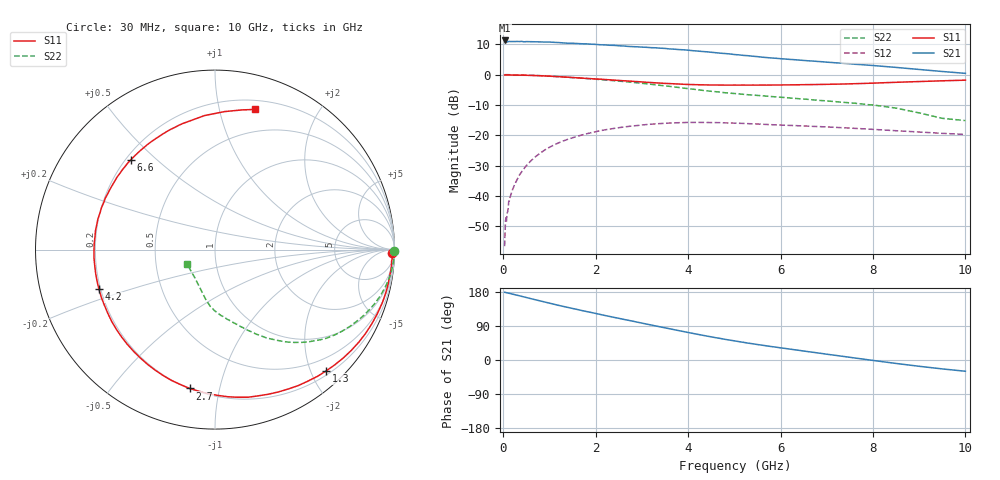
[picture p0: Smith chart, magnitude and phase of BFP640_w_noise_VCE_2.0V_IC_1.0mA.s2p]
! Infineon Technologies  Discrete & RF Semiconductors
! BFP640
! VCE =  2.0 V,  IC =  1.0 mA
! Common Emitter S-Parameters:  Apr 2013
# GHz  S  MA  R  50
!  f  S11  S21  S12  S22
! GHz  MAG  ANG  MAG  ANG  MAG  ANG  MAG  ANG
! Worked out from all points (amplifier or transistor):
!   99 points, 30 MHz to 10 GHz, reference 50 ohm
!   highest |S21| = 11.3 dB at 30 MHz (marker M1)
!   |S21| within 3 dB of that: start of sweep to 3.797 GHz
!   unconditionally stable (mu >= 1): 7.124 GHz to end of sweep
!   at 350 MHz: K = 0.02, MSG = 22.0 dB, |S12| = -33.1 dB
!   at 3.5 GHz: K = 0.43, MSG = 12.3 dB, |S12| = -16.0 dB
!   at 10 GHz: K = 1.43, MAG = 6.2 dB, |S12| = -19.7 dB
!   lowest NFmin = 0.65 dB at 450 MHz
!   S11 on the Smith chart (normalised r, x): 30 MHz: 49, -70; 1.3 GHz: 0.27, -2.25; 2.7 GHz: 0.20, -0.81; 4.2 GHz: 0.19, -0.16; 6.6 GHz: 0.22, +0.42; 10 GHz: 0.28, +1.28
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0.03  0.9866 -1.1  3.659 178.7  0.0015 84.1  0.9997 -0.5
0.04  0.9878 -1.5  3.463 178.5  0.0025 84.6  0.9996 -0.7
0.05  0.9881 -1.7  3.48 178.4  0.004 68.9  0.999 -1.1
0.06  0.9893 -2.2  3.479 177.9  0.0044 75.0  0.9978 -1.1
0.07  0.9887 -2.5  3.469 177.7  0.0038 91.9  1 -1.3
0.08  0.9878 -2.9  3.467 177.4  0.005 83.4  0.9994 -1.5
0.12  0.9867 -4.3  3.519 176.2  0.0083 88.0  0.9993 -2.2
0.35  0.9829 -12.6  3.512 169.5  0.0222 82.8  0.9914 -6.4
0.8  0.9603 -29.1  3.464 155.9  0.0511 72.6  0.9623 -14.3
1.3  0.9167 -47.5  3.335 141.4  0.0811 59.9  0.9158 -22.4
1.7  0.8775 -62.2  3.228 130.6  0.1015 50.5  0.8745 -28.2
2.2  0.8325 -81.2  3.092 117.5  0.1234 39.2  0.8191 -35.5
2.7  0.7865 -100.3  2.921 105.0  0.1403 28.7  0.7592 -41.8
3.4  0.7259 -128.7  2.731 87.4  0.1567 14.9  0.667 -50.7
4.2  0.6833 -161.1  2.45 67.9  0.1639 0.1  0.5666 -60.0
4.6  0.6758 -176.0  2.299 58.8  0.1624 -6.4  0.5242 -64.0
5.1  0.6733 167.9  2.118 48.5  0.1584 -13.4  0.4821 -68.2
5.9  0.6751 147.9  1.863 33.9  0.1491 -21.9  0.4308 -74.2
6.6  0.6855 133.1  1.691 22.0  0.1422 -28.2  0.3919 -80.5
6.7  0.6873 131.0  1.677 20.4  0.1408 -28.8  0.3845 -81.4
8.5  0.749 94.5  1.317 -9.1  0.1194 -40.0  0.2813 -100.7
10  0.8116 74.2  1.051 -29.7  0.1037 -41.5  0.1753 -152.0
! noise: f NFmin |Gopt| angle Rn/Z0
0.45  0.65  0.65  13  0.46
0.9  0.72  0.66  25  0.45
1.5  0.9  0.57  42  0.42
1.9  0.97  0.53  56  0.41
2.4  1.04  0.5  66  0.39
3.5  1.24  0.43  95  0.34
5.5  1.75  0.38  -177  0.34
10  3.04  0.68  -70  1.23
